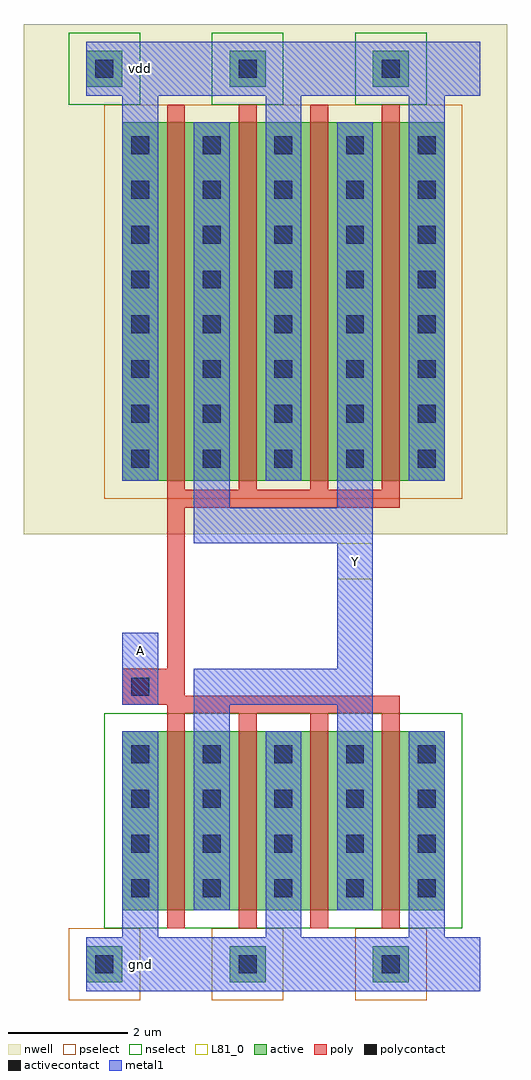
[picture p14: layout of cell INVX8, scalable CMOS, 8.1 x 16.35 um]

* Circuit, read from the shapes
.subckt INVX8 A Y gnd vdd
M1 Y A gnd gnd nfet w=3u l=0.3u m=4
M2 Y A vdd vdd pfet w=6u l=0.3u m=4
.ends

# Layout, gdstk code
import gdstk
lib = gdstk.Library(unit=1e-6, precision=1e-09)
def R(c, l, rs):  # rectangles x0, y0, x1, y1
    for r in rs: c.add(gdstk.rectangle(r[:2], r[2:], *l))
def A(c, l, x, y, w, h, nx, ny, dx, dy):  # array of equal rectangles
    R(c, l, [(x+i*dx, y+j*dy, x+i*dx+w, y+j*dy+h) for i in range(nx) for j in range(ny)])
nwell = (42, 0)
active = (43, 0)
pselect = (44, 0)
nselect = (45, 0)
poly = (46, 0)
polycontact = (47, 0)
activecontact = (48, 0)
metal1 = (49, 0)
L81_0 = (81, 0)

invx8 = lib.new_cell('INVX8')
R(invx8, nwell, [(-1.35,7.2,6.75,15.75)])
A(invx8, active, -0.3, -0.3, 0.6, 0.6, 3, 2, 2.4, 15)
R(invx8, active, [(0.3,0.9,5.7,3.9), (0.3,8.1,5.7,14.1)])
A(invx8, pselect, -0.6, -0.6, 1.2, 1.2, 3, 1, 2.4, 0)
R(invx8, pselect, [(0,7.8,6,14.4)])
A(invx8, nselect, -0.6, 14.4, 1.2, 1.2, 3, 1, 2.4, 0)
R(invx8, nselect, [(0,0.6,6,4.2)])
A(invx8, poly, 1.05, 0.6, 0.3, 3.6, 4, 1, 1.2, 0)
A(invx8, poly, 1.05, 7.95, 0.3, 6.45, 4, 1, 1.2, 0)
R(invx8, poly, [(1.05,4.2,4.95,4.35), (0.3,4.35,4.95,4.5), (0.3,4.5,1.35,4.95), (1.05,4.95,1.35,7.65), (1.05,7.65,4.95,7.95)])
R(invx8, polycontact, [(0.45,4.5,0.75,4.8)])
A(invx8, activecontact, -0.15, -0.15, 0.3, 0.3, 3, 2, 2.4, 15)
A(invx8, activecontact, 0.45, 1.12, 0.3, 0.3, 5, 4, 1.2, 0.75)
A(invx8, activecontact, 0.45, 8.32, 0.3, 0.3, 5, 8, 1.2, 0.75)
A(invx8, metal1, 0.3, 0.45, 0.6, 3.45, 3, 1, 2.4, 0)
A(invx8, metal1, 0.3, 8.1, 0.6, 6.45, 3, 1, 2.4, 0)
R(invx8, metal1, [(-0.3,-0.45,6.3,0.45), (1.5,0.9,2.1,4.35), (3.9,0.9,4.5,4.35), (0.3,4.35,0.9,5.55), (1.5,4.35,4.5,4.95), (3.9,4.95,4.5,7.05), (1.5,7.05,4.5,7.65), (1.5,7.65,2.1,14.1), (3.9,7.65,4.5,14.1), (-0.3,14.55,6.3,15.45)])
R(invx8, L81_0, [(0.3,4.95,0.9,5.55), (3.9,6.45,4.5,7.05)])
invx8.add(gdstk.Label('vdd', (0.6,15), layer=109, texttype=0))
invx8.add(gdstk.Label('gnd', (0.6,0), layer=109, texttype=0))
invx8.add(gdstk.Label('A', (0.6,5.25), layer=109, texttype=0))
invx8.add(gdstk.Label('Y', (4.2,6.75), layer=109, texttype=0))

lib.write_gds('INVX8.gds')
